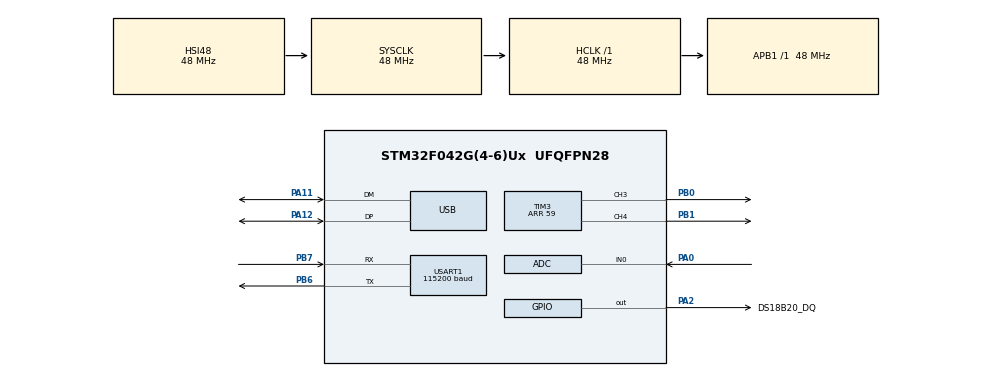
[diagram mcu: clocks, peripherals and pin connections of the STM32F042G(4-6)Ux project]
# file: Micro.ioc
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ADC.Overrun=ADC_OVR_DATA_OVERWRITTEN
ADC.SamplingTime=ADC_SAMPLETIME_55CYCLES_5
Dma.Request0=TIM3_CH3
Dma.Request1=TIM3_CH4/UP
Dma.TIM3_CH3.0.Direction=DMA_MEMORY_TO_PERIPH
Dma.TIM3_CH3.0.Instance=DMA1_Channel2
Dma.TIM3_CH3.0.MemDataAlignment=DMA_MDATAALIGN_HALFWORD
Dma.TIM3_CH3.0.MemInc=DMA_MINC_ENABLE
Dma.TIM3_CH3.0.Mode=DMA_NORMAL
Dma.TIM3_CH3.0.PeriphDataAlignment=DMA_PDATAALIGN_HALFWORD
Dma.TIM3_CH3.0.PeriphInc=DMA_PINC_DISABLE
Dma.TIM3_CH3.0.Priority=DMA_PRIORITY_HIGH
Dma.TIM3_CH4/UP.1.Direction=DMA_MEMORY_TO_PERIPH
Dma.TIM3_CH4/UP.1.Instance=DMA1_Channel3
Dma.TIM3_CH4/UP.1.MemDataAlignment=DMA_MDATAALIGN_HALFWORD
Dma.TIM3_CH4/UP.1.MemInc=DMA_MINC_ENABLE
Dma.TIM3_CH4/UP.1.Mode=DMA_NORMAL
Dma.TIM3_CH4/UP.1.PeriphDataAlignment=DMA_PDATAALIGN_HALFWORD
Dma.TIM3_CH4/UP.1.PeriphInc=DMA_PINC_DISABLE
Dma.TIM3_CH4/UP.1.Priority=DMA_PRIORITY_HIGH
Mcu.Family=STM32F0
Mcu.Name=STM32F042G(4-6)Ux
Mcu.Package=UFQFPN28
NVIC.DMA1_Channel2_3_IRQn=true\:0\:0\:false\:false\:true\:false\:true\:true
PA0.Mode=IN0
PA0.Signal=ADC_IN0
PA11.Mode=Device
PA11.Signal=USB_DM
PA12.Mode=Device
PA12.Signal=USB_DP
PA13.Mode=Serial_Wire
PA13.Signal=SYS_SWDIO
PA14.Mode=Serial_Wire
PA14.Signal=SYS_SWCLK
PA2.GPIO_Label=DS18B20_DQ
PA2.GPIO_ModeDefaultOutputPP=GPIO_MODE_OUTPUT_OD
PA2.GPIO_PuPd=GPIO_NOPULL
PA2.PinState=GPIO_PIN_SET
PA2.Signal=GPIO_Output
PB0.Signal=S_TIM3_CH3
PB1.Signal=S_TIM3_CH4
PB6.Mode=Asynchronous
PB6.Signal=USART1_TX
PB7.Mode=Asynchronous
PB7.Signal=USART1_RX
ProjectManager.HeapSize=0x200
ProjectManager.StackSize=0x400
ProjectManager.TargetToolchain=MDK-ARM V5.32
RCC.AHBFreq_Value=48000000
RCC.APB1Freq_Value=48000000
RCC.APB1TimFreq_Value=48000000
RCC.HCLKFreq_Value=48000000
RCC.SYSCLKFreq_VALUE=48000000
RCC.SYSCLKSource=RCC_SYSCLKSOURCE_HSI48
SH.S_TIM3_CH3.0=TIM3_CH3,PWM Generation3 CH3
SH.S_TIM3_CH4.0=TIM3_CH4,PWM Generation4 CH4
TIM1.ClockDivision=TIM_CLOCKDIVISION_DIV2
TIM1.Period=59
TIM14.Prescaler=47
TIM3.Channel-PWM\ Generation3\ CH3=TIM_CHANNEL_3
TIM3.Channel-PWM\ Generation4\ CH4=TIM_CHANNEL_4
TIM3.Period=59
USART1.BaudRate=115200
USART1.VirtualMode-Asynchronous=VM_ASYNC
VP_SYS_VS_PINREMAP.Mode=PINREMAP
VP_TIM14_VS_ClockSourceINT.Mode=Enable_Timer
VP_TIM1_VS_ClockSourceINT.Mode=Internal
VP_TIM3_VS_ClockSourceINT.Mode=Internal
board=custom

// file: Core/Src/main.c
/* USER CODE BEGIN Header */
/**
  ******************************************************************************
  * @file           : main.c
  * @brief          : Main program body
  ******************************************************************************
  * @attention
  *
  * Copyright (c) 2026 STMicroelectronics.
  * All rights reserved.
  *
  * This software is licensed under terms that can be found in the LICENSE file
  * in the root directory of this software component.
  * If no LICENSE file comes with this software, it is provided AS-IS.
  *
  ******************************************************************************
  */
/* USER CODE END Header */
#include "main.h"
#include "adc.h"
#include "dma.h"
#include "tim.h"
#include "usart.h"
#include "usb.h"
#include "gpio.h"

/* USER CODE BEGIN Includes */

#include <stdio.h>

/* USER CODE END Includes */

/* USER CODE BEGIN PV */

uint16_t mic_adc_value;
char mic_uart_buffer[16];
int mic_uart_length;

/* USER CODE END PV */

void SystemClock_Config(void);

int main(void)
{

  /* MCU Configuration--------------------------------------------------------*/

  /* Reset of all peripherals, Initializes the Flash interface and the Systick. */
  HAL_Init();

  /* Configure the system clock */
  SystemClock_Config();

  /* Initialize all configured peripherals */
  MX_GPIO_Init();
  MX_DMA_Init();
  MX_TIM1_Init();
  MX_USART1_UART_Init();
  MX_USB_PCD_Init();
  MX_TIM3_Init();
  MX_TIM14_Init();
  MX_ADC_Init();
  /* USER CODE BEGIN 2 */

  /* 临时启动标记：如果 VOFA+ 能收到 4095，说明 USART1 已经开始工作。 */
  {
    const char startup_message[] = "d:4095\n";
    HAL_UART_Transmit(&huart1,
                      (uint8_t *)startup_message,
                      sizeof(startup_message) - 1,
                      100);
  }

  /* ADC 校准只需在初始化后执行一次。 */
  if (HAL_ADCEx_Calibration_Start(&hadc) != HAL_OK)
  {
    /* -3 表示 ADC 校准失败。 */
    const char error_message[] = "d:-3\n";
    HAL_UART_Transmit(&huart1,
                      (uint8_t *)error_message,
                      sizeof(error_message) - 1,
                      100);
    Error_Handler();
  }

  /* USER CODE END 2 */

  /* Infinite loop */
  while (1)
  {

    /* USER CODE BEGIN 3 */

    /* 启动一次 ADC 转换，并等待 PA0 的转换结果。 */
    if (HAL_ADC_Start(&hadc) != HAL_OK)
    {
      /* -1 表示 ADC 启动失败。 */
      const char error_message[] = "d:-1\n";
      HAL_UART_Transmit(&huart1,
                        (uint8_t *)error_message,
                        sizeof(error_message) - 1,
                        100);
      Error_Handler();
    }

    if (HAL_ADC_PollForConversion(&hadc, 10) == HAL_OK)
    {
      mic_adc_value = HAL_ADC_GetValue(&hadc);

      /* FireWater 格式：d:数值\n，VOFA+ 会将其识别为 I0 通道。 */
      mic_uart_length = snprintf(mic_uart_buffer,
                                 sizeof(mic_uart_buffer),
                                 "d:%u\n",
                                 (unsigned int)mic_adc_value);

      if ((mic_uart_length > 0) &&
          (mic_uart_length < (int)sizeof(mic_uart_buffer)))
      {
        HAL_UART_Transmit(&huart1,
                          (uint8_t *)mic_uart_buffer,
                          (uint16_t)mic_uart_length,
                          100);
      }
    }
    else
    {
      /* -2 表示 ADC 在 10 ms 内没有完成转换。 */
      const char error_message[] = "d:-2\n";
      HAL_UART_Transmit(&huart1,
                        (uint8_t *)error_message,
                        sizeof(error_message) - 1,
                        100);
    }

    HAL_ADC_Stop(&hadc);

    /* 约每 1 ms 采样一次，实际频率还会受到串口发送时间影响。 */
    HAL_Delay(1);

  }
  /* USER CODE END 3 */
}

void SystemClock_Config(void)
{
  RCC_OscInitTypeDef RCC_OscInitStruct = {0};
  RCC_ClkInitTypeDef RCC_ClkInitStruct = {0};
  RCC_PeriphCLKInitTypeDef PeriphClkInit = {0};

  /** Initializes the RCC Oscillators according to the specified parameters
  * in the RCC_OscInitTypeDef structure.
  */
  RCC_OscInitStruct.OscillatorType = RCC_OSCILLATORTYPE_HSI14|RCC_OSCILLATORTYPE_HSI48;
  RCC_OscInitStruct.HSI48State = RCC_HSI48_ON;
  RCC_OscInitStruct.HSI14State = RCC_HSI14_ON;
  RCC_OscInitStruct.HSI14CalibrationValue = 16;
  RCC_OscInitStruct.PLL.PLLState = RCC_PLL_NONE;
  if (HAL_RCC_OscConfig(&RCC_OscInitStruct) != HAL_OK)
  {
    Error_Handler();
  }

  /** Initializes the CPU, AHB and APB buses clocks
  */
  RCC_ClkInitStruct.ClockType = RCC_CLOCKTYPE_HCLK|RCC_CLOCKTYPE_SYSCLK
                              |RCC_CLOCKTYPE_PCLK1;
  RCC_ClkInitStruct.SYSCLKSource = RCC_SYSCLKSOURCE_HSI48;
  RCC_ClkInitStruct.AHBCLKDivider = RCC_SYSCLK_DIV1;
  RCC_ClkInitStruct.APB1CLKDivider = RCC_HCLK_DIV1;

  if (HAL_RCC_ClockConfig(&RCC_ClkInitStruct, FLASH_LATENCY_1) != HAL_OK)
  {
    Error_Handler();
  }
  PeriphClkInit.PeriphClockSelection = RCC_PERIPHCLK_USB|RCC_PERIPHCLK_USART1;
  PeriphClkInit.Usart1ClockSelection = RCC_USART1CLKSOURCE_PCLK1;
  PeriphClkInit.UsbClockSelection = RCC_USBCLKSOURCE_HSI48;

  if (HAL_RCCEx_PeriphCLKConfig(&PeriphClkInit) != HAL_OK)
  {
    Error_Handler();
  }
}

void Error_Handler(void)
{
  __disable_irq();
  while (1)
  {
  }
}
